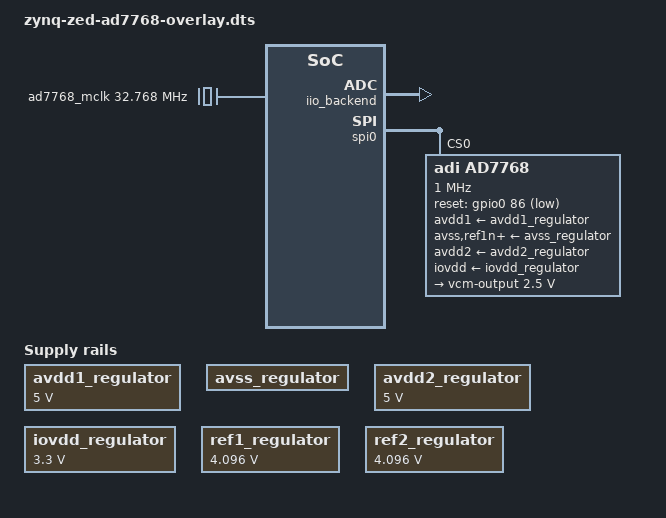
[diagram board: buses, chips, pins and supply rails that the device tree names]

/dts-v1/;
/plugin/;

#include <dt-bindings/gpio/gpio.h>

/ {
	fragment@0 {
		target-path = "/";
		__overlay__ {
			avdd1_regulator: avdd1-regulator {
				compatible = "regulator-fixed";
				regulator-name = "avdd1";
				regulator-min-microvolt = <5000000>;
				regulator-max-microvolt = <5000000>;
				regulator-always-on;
			};

			avss_regulator: avss-regulator {
				compatible = "regulator-fixed";
				regulator-name = "avss";
				regulator-min-microvolt = <0>;
				regulator-max-microvolt = <0>;
				regulator-always-on;
			};

			avdd2_regulator: avdd2-regulator {
				compatible = "regulator-fixed";
				regulator-name = "avdd2";
				regulator-min-microvolt = <5000000>;
				regulator-max-microvolt = <5000000>;
				regulator-always-on;
			};

			iovdd_regulator: iovdd-regulator {
				compatible = "regulator-fixed";
				regulator-name = "iovdd";
				regulator-min-microvolt = <3300000>;
				regulator-max-microvolt = <3300000>;
				regulator-always-on;
			};

			ref1_regulator: ref1-regulator {
				compatible = "regulator-fixed";
				regulator-name = "ref1";
				regulator-min-microvolt = <4096000>;
				regulator-max-microvolt = <4096000>;
				regulator-always-on;
			};

			ref2_regulator: ref2-regulator {
				compatible = "regulator-fixed";
				regulator-name = "ref2";
				regulator-min-microvolt = <4096000>;
				regulator-max-microvolt = <4096000>;
				regulator-always-on;
			};

			axi_clk: axi_clk {
				compatible = "fixed-clock";
				clock-frequency = <100000000>;
				clock-output-names = "axi-clk";
				#clock-cells = <0>;
			};

			ad7768_mclk: ad7768_mclk {
				compatible = "fixed-clock";
				clock-frequency = <32768000>;
				clock-output-names = "ad7768-mclk";
				#clock-cells = <0>;
			};
		};
	};

	fragment@1 {
		target-path = "/fpga-axi@0";
		__overlay__ {
			#address-cells = <1>;
			#size-cells = <1>;

			rx_dma: dmac@7c480000 {
				compatible = "adi,axi-dmac-1.00.a";
				reg = <0x7c480000 0x1000>;
				#dma-cells = <1>;
				interrupt-parent = <&intc>;
				interrupts = <0 54 4>;
				clocks = <&clkc 15>;

				adi,channels {
					#size-cells = <0>;
					#address-cells = <1>;

					dma_channel: dma-channel@0 {
						reg = <0>;
						adi,source-bus-width = <256>;
						adi,source-bus-type = <2>;
						adi,destination-bus-width = <64>;
						adi,destination-bus-type = <0>;
					};
				};
			};

			iio_backend: axi_adc@43c00000 {
				compatible = "adi,axi-adc-10.0.a";
				reg = <0x43c00000 0x10000>;
				dmas = <&rx_dma 0>;
				dma-names = "rx";
				clocks = <&axi_clk>;
				spibus-connected = <&ad7768>;
			};
		};
	};

	fragment@2 {
		target = <&spi0>;
		__overlay__ {
			status = "okay";
			#address-cells = <1>;
			#size-cells = <0>;
			ad7768: adc@0 {
				compatible = "adi,ad7768";
				reg = <0>;
				spi-max-frequency = <1000000>;

				avdd1-supply = <&avdd1_regulator>;
				avss-supply = <&avss_regulator>;
				avdd2-supply = <&avdd2_regulator>;
				iovdd-supply = <&iovdd_regulator>;
				ref1p-supply = <&ref1_regulator>;
				ref1n-supply = <&avss_regulator>;
				ref2p-supply = <&ref2_regulator>;
				ref2n-supply = <&avss_regulator>;
				reset-gpios = <&gpio0 86 GPIO_ACTIVE_LOW>;

				clocks = <&ad7768_mclk>;
				clock-names = "mclk";
				adi,data-lines-number = <8>;
				gpio-controller;
				#gpio-cells = <2>;
				#address-cells = <1>;
				#size-cells = <0>;

				io-backends = <&iio_backend>;

				regulators {
					vcm-output {
						regulator-name = "vcm-output";
						regulator-min-microvolt = <2500000>;
						regulator-max-microvolt = <2500000>;
						#regulator-always-on;
					};
				};

				channel@0 {
					reg = <0>;
					adi,prechargebuf-pos-enable;
					adi,refbuf-pos-enable;
				};

				channel@1 {
					reg = <1>;
					adi,prechargebuf-pos-enable;
					adi,prechargebuf-neg-enable;
					adi,refbuf-pos-enable;
					adi,refbuf-neg-enable;
				};

				channel@2 {
					reg = <2>;
					adi,prechargebuf-neg-enable;
					adi,refbuf-neg-enable;
				};

				channel@3 {
					reg = <3>;
					adi,prechargebuf-pos-enable;
					adi,refbuf-pos-enable;
				};

				channel@4 {
					reg = <4>;
					adi,prechargebuf-pos-enable;
					adi,refbuf-pos-enable;
				};

				channel@5 {
					reg = <5>;
					adi,prechargebuf-pos-enable;
					adi,prechargebuf-neg-enable;
					adi,refbuf-pos-enable;
					adi,refbuf-neg-enable;
				};

				channel@6 {
					reg = <6>;
					adi,prechargebuf-neg-enable;
					adi,refbuf-neg-enable;
				};

				channel@7 {
					reg = <7>;
					adi,prechargebuf-pos-enable;
					adi,refbuf-pos-enable;
				};
			};
		};
	};
};
